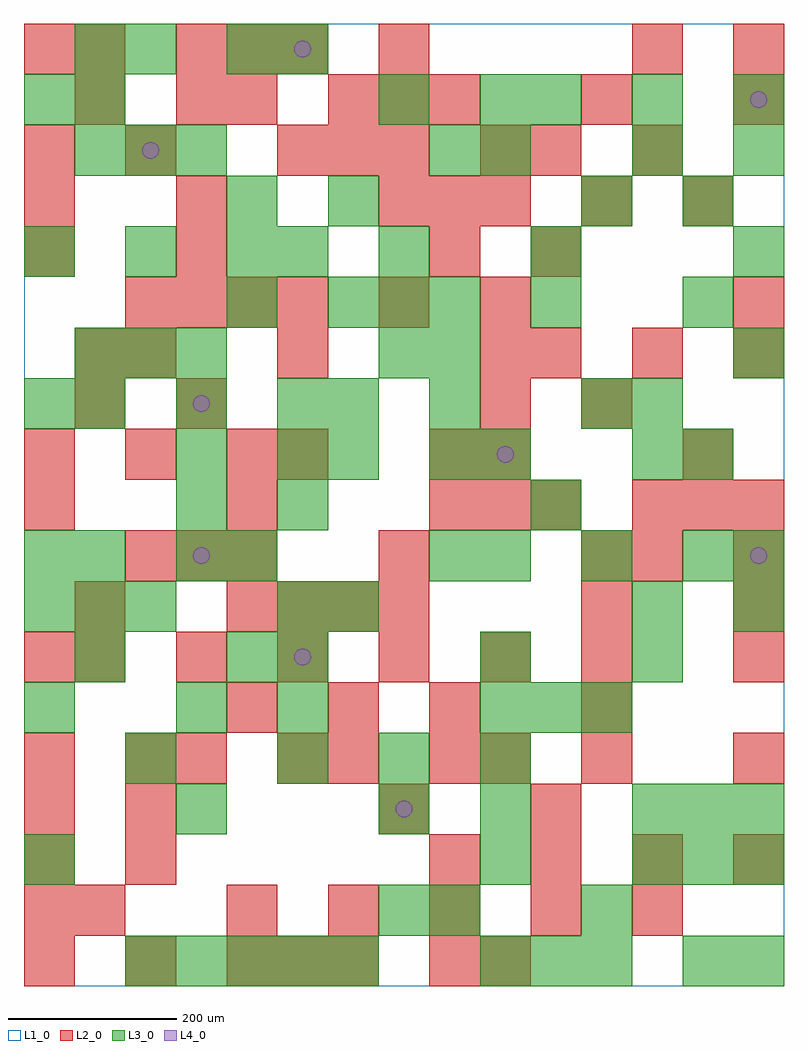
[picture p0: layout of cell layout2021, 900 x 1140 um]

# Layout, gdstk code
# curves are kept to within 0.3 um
import gdstk
lib = gdstk.Library(unit=1e-6, precision=1e-09)
def R(c, l, rs):  # rectangles x0, y0, x1, y1
    for r in rs: c.add(gdstk.rectangle(r[:2], r[2:], *l))
def A(c, l, x, y, w, h, nx, ny, dx, dy):  # array of equal rectangles
    R(c, l, [(x+i*dx, y+j*dy, x+i*dx+w, y+j*dy+h) for i in range(nx) for j in range(ny)])
def P(c, l, *ps):  # polygons
    for p in ps: c.add(gdstk.Polygon(p, *l))
L1_0 = (1, 0)
L2_0 = (2, 0)
L3_0 = (3, 0)
L4_0 = (4, 0)

layout2021 = lib.new_cell('layout2021')
R(layout2021, L1_0, [(0,0,900,1140)])
A(layout2021, L2_0, 0, 0, 60, 60, 3, 2, 120, 600)
A(layout2021, L2_0, 0, 60, 60, 60, 1, 4, 0, 60)
A(layout2021, L2_0, 240, 60, 60, 60, 5, 1, 120, 0)
A(layout2021, L2_0, 120, 120, 60, 60, 1, 3, 0, 60)
A(layout2021, L2_0, 480, 120, 60, 60, 4, 1, 120, 0)
A(layout2021, L2_0, 420, 180, 60, 60, 1, 4, 0, 300)
A(layout2021, L2_0, 240, 300, 60, 60, 3, 1, 120, 0)
A(layout2021, L2_0, 60, 360, 60, 60, 6, 1, 120, 0)
A(layout2021, L2_0, 840, 360, 60, 60, 1, 3, 0, 60)
A(layout2021, L2_0, 240, 420, 60, 60, 4, 1, 60, 0)
A(layout2021, L2_0, 120, 480, 60, 60, 3, 1, 60, 0)
A(layout2021, L2_0, 0, 540, 60, 60, 3, 1, 240, 0)
A(layout2021, L2_0, 540, 540, 60, 60, 1, 5, 0, 60)
A(layout2021, L2_0, 720, 540, 60, 60, 3, 1, 60, 0)
A(layout2021, L2_0, 600, 720, 60, 60, 3, 1, 120, 0)
A(layout2021, L2_0, 120, 780, 60, 60, 4, 1, 60, 0)
A(layout2021, L2_0, 0, 840, 60, 60, 1, 3, 0, 60)
A(layout2021, L2_0, 420, 900, 60, 60, 3, 1, 60, 0)
A(layout2021, L2_0, 300, 960, 60, 60, 3, 1, 60, 0)
A(layout2021, L2_0, 360, 1020, 60, 60, 3, 1, 60, 0)
A(layout2021, L2_0, 180, 1080, 60, 60, 3, 1, 60, 0)
R(layout2021, L2_0, [(300,0,360,60), (360,0,420,60), (480,0,540,60), (540,0,600,60), (60,60,120,120), (600,180,660,240), (180,240,240,300), (300,240,360,300), (360,240,420,300), (480,240,540,300), (540,240,600,300), (660,240,720,300), (840,240,900,300), (660,300,720,360), (0,360,60,420), (60,420,120,480), (660,420,720,480), (660,480,720,540), (720,480,780,540), (600,540,660,600), (300,600,360,660), (480,600,540,660), (780,600,840,660), (60,660,120,720), (180,660,240,720), (660,660,720,720), (60,720,120,780), (120,720,180,780), (300,720,360,780), (840,780,900,840), (180,840,240,900), (480,840,540,900), (600,840,660,900), (180,900,240,960), (660,900,720,960), (780,900,840,960), (120,960,180,1020), (540,960,600,1020), (600,960,660,1020), (720,960,780,1020), (60,1020,120,1080), (180,1020,240,1080), (240,1020,300,1080), (660,1020,720,1080), (840,1020,900,1080), (0,1080,60,1140), (60,1080,120,1140), (720,1080,780,1140), (840,1080,900,1140)])
A(layout2021, L3_0, 120, 0, 60, 60, 5, 1, 60, 0)
A(layout2021, L3_0, 540, 0, 60, 60, 3, 2, 60, 300)
A(layout2021, L3_0, 0, 120, 60, 60, 1, 4, 0, 180)
A(layout2021, L3_0, 720, 120, 60, 60, 3, 2, 60, 60)
A(layout2021, L3_0, 300, 240, 60, 60, 3, 1, 120, 0)
A(layout2021, L3_0, 300, 300, 60, 60, 1, 3, 0, 60)
A(layout2021, L3_0, 0, 420, 60, 60, 3, 1, 60, 0)
A(layout2021, L3_0, 180, 480, 60, 60, 1, 3, 0, 60)
A(layout2021, L3_0, 540, 480, 60, 60, 3, 1, 120, 0)
A(layout2021, L3_0, 300, 600, 60, 60, 1, 3, 0, 240)
A(layout2021, L3_0, 480, 600, 60, 60, 1, 3, 0, 60)
A(layout2021, L3_0, 60, 660, 60, 60, 3, 1, 120, 0)
A(layout2021, L3_0, 60, 720, 60, 60, 3, 2, 60, 240)
A(layout2021, L3_0, 840, 720, 60, 60, 1, 3, 0, 120)
A(layout2021, L3_0, 360, 780, 60, 60, 3, 1, 60, 0)
A(layout2021, L3_0, 0, 840, 60, 60, 3, 1, 120, 0)
A(layout2021, L3_0, 600, 1020, 60, 60, 3, 1, 120, 0)
R(layout2021, L3_0, [(780,0,840,60), (840,0,900,60), (420,60,480,120), (480,60,540,120), (660,60,720,120), (540,120,600,180), (180,180,240,240), (420,180,480,240), (540,180,600,240), (120,240,180,300), (180,300,240,360), (60,360,120,420), (240,360,300,420), (540,360,600,420), (720,360,780,420), (360,420,420,480), (720,420,780,480), (840,420,900,480), (60,480,120,540), (240,480,300,540), (480,480,540,540), (840,480,900,540), (300,540,360,600), (600,540,660,600), (360,600,420,660), (540,600,600,660), (720,600,780,660), (780,600,840,660), (360,660,420,720), (660,660,720,720), (720,660,780,720), (420,720,480,780), (240,780,300,840), (600,780,660,840), (780,780,840,840), (420,840,480,900), (600,840,660,900), (240,900,300,960), (360,900,420,960), (660,900,720,960), (780,900,840,960), (480,960,540,1020), (540,960,600,1020), (720,960,780,1020), (0,1020,60,1080), (60,1020,120,1080), (420,1020,480,1080), (540,1020,600,1080), (60,1080,120,1140), (120,1080,180,1140), (240,1080,300,1140)])
P(layout2021, L4_0, [(160,990),(159.239,993.827),(157.071,997.071),(153.827,999.239),(150,1000),(146.173,999.239),(142.929,997.071),(140.761,993.827),(140,990),(140.761,986.173),(142.929,982.929),(146.173,980.761),(150,980),(153.827,980.761),(157.071,982.929),(159.239,986.173)],
  [(220,510),(219.239,513.827),(217.071,517.071),(213.827,519.239),(210,520),(206.173,519.239),(202.929,517.071),(200.761,513.827),(200,510),(200.761,506.173),(202.929,502.929),(206.173,500.761),(210,500),(213.827,500.761),(217.071,502.929),(219.239,506.173)],
  [(220,690),(219.239,693.827),(217.071,697.071),(213.827,699.239),(210,700),(206.173,699.239),(202.929,697.071),(200.761,693.827),(200,690),(200.761,686.173),(202.929,682.929),(206.173,680.761),(210,680),(213.827,680.761),(217.071,682.929),(219.239,686.173)],
  [(340,390),(339.239,393.827),(337.071,397.071),(333.827,399.239),(330,400),(326.173,399.239),(322.929,397.071),(320.761,393.827),(320,390),(320.761,386.173),(322.929,382.929),(326.173,380.761),(330,380),(333.827,380.761),(337.071,382.929),(339.239,386.173)],
  [(340,1110),(339.239,1113.827),(337.071,1117.071),(333.827,1119.239),(330,1120),(326.173,1119.239),(322.929,1117.071),(320.761,1113.827),(320,1110),(320.761,1106.173),(322.929,1102.929),(326.173,1100.761),(330,1100),(333.827,1100.761),(337.071,1102.929),(339.239,1106.173)],
  [(460,210),(459.239,213.827),(457.071,217.071),(453.827,219.239),(450,220),(446.173,219.239),(442.929,217.071),(440.761,213.827),(440,210),(440.761,206.173),(442.929,202.929),(446.173,200.761),(450,200),(453.827,200.761),(457.071,202.929),(459.239,206.173)],
  [(580,630),(579.239,633.827),(577.071,637.071),(573.827,639.239),(570,640),(566.173,639.239),(562.929,637.071),(560.761,633.827),(560,630),(560.761,626.173),(562.929,622.929),(566.173,620.761),(570,620),(573.827,620.761),(577.071,622.929),(579.239,626.173)],
  [(880,510),(879.239,513.827),(877.071,517.071),(873.827,519.239),(870,520),(866.173,519.239),(862.929,517.071),(860.761,513.827),(860,510),(860.761,506.173),(862.929,502.929),(866.173,500.761),(870,500),(873.827,500.761),(877.071,502.929),(879.239,506.173)],
  [(880,1050),(879.239,1053.827),(877.071,1057.071),(873.827,1059.239),(870,1060),(866.173,1059.239),(862.929,1057.071),(860.761,1053.827),(860,1050),(860.761,1046.173),(862.929,1042.929),(866.173,1040.761),(870,1040),(873.827,1040.761),(877.071,1042.929),(879.239,1046.173)])

lib.write_gds('layout2021.gds')
